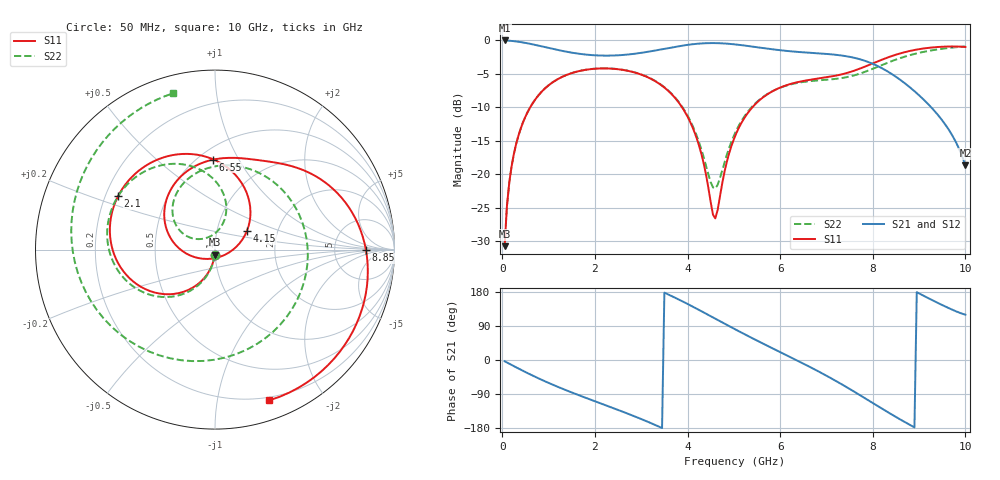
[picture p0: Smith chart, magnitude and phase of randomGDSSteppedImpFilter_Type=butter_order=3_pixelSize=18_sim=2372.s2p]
! freq	dB(S11)	phase(S11)	dB(S12)	phase(S12)
!  dB(S21)	phase(S21)	dB(S22)	phase(S22)
!S-par simulation data
#  GHz  S  DB  R 50
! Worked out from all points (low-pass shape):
!   200 points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, 50 MHz to 10 GHz, reference 50 ohm
!   highest |S21| = -0.01 dB at 50 MHz (marker M1); lowest = -18.7 dB at 10 GHz (marker M2)
!   |S21| within 3 dB of the highest: start of sweep to 7.81 GHz
!   lowest |S11| = -30.8 dB at 50 MHz (marker M3), VSWR 1.06, Z = 49.7 - j2.87 ohm
!   |S11| at or under -10 dB: start of sweep to 603.4 MHz; 3.881 GHz to 5.401 GHz (1.52 GHz wide, 32.8 % of centre)
!   |S22| runs from -30.8 to -0.9 dB; largest |S21 - S12| = 0
!   S11 on the Smith chart (normalised r, x): 50 MHz: 0.99, -0.06; 2.1 GHz: 0.25, +0.24; 4.15 GHz: 1.39, +0.30; 6.55 GHz: 0.59, +0.79; 8.85 GHz: 12, -0; 10 GHz: 0.17, -1.41
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0.05  -30.77 -93.4  -0.01 -3.3  -0.01 -3.3  -30.77 -93.2
0.1  -24.78 -97.0  -0.02 -6.6  -0.02 -6.6  -24.78 -96.5
0.2  -18.86 -103.9  -0.08 -13.0  -0.08 -13.0  -18.86 -103.0
0.5  -11.40 -123.4  -0.37 -31.8  -0.37 -31.8  -11.39 -121.2
1.05  -6.45 -156.0  -1.21 -63.1  -1.21 -63.1  -6.44 -151.3
1.75  -4.46 168.0  -2.08 -97.4  -2.08 -97.4  -4.45 176.2
2.1  -4.20 151.1  -2.26 -113.5  -2.26 -113.5  -4.19 161.2
2.8  -4.69 116.7  -2.04 -145.9  -2.04 -145.9  -4.67 131.3
3.4  -6.53 83.6  -1.38 -176.7  -1.38 -176.7  -6.49 104.1
4.15  -13.72 30.3  -0.54 138.4  -0.54 138.4  -13.41 73.2
4.6  -26.62 -82.4  -0.40 109.0  -0.40 109.0  -22.14 118.2
5.05  -13.94 177.9  -0.61 79.6  -0.61 79.6  -13.51 152.6
5.8  -7.74 127.8  -1.30 33.0  -1.30 33.0  -7.71 114.6
6.55  -6.00 91.2  -1.81 -12.6  -1.81 -12.6  -6.17 62.1
6.7  -5.83 85.1  -1.88 -22.0  -1.88 -22.0  -6.05 49.7
7.15  -5.34 68.9  -2.11 -51.6  -2.11 -51.6  -5.79 7.0
7.5  -4.75 57.7  -2.45 -76.3  -2.45 -76.3  -5.40 -31.7
7.95  -3.58 42.0  -3.36 -109.7  -3.36 -109.7  -4.38 -84.5
8.35  -2.49 24.7  -4.76 -139.5  -4.76 -139.5  -3.25 -128.4
8.85  -1.50 -0.2  -7.30 -174.4  -7.30 -174.4  -2.11 -175.0
9.45  -0.96 -33.3  -11.52 147.9  -11.52 147.9  -1.30 139.9
10  -0.99 -70.2  -18.70 119.6  -18.70 119.6  -0.90 105.1
